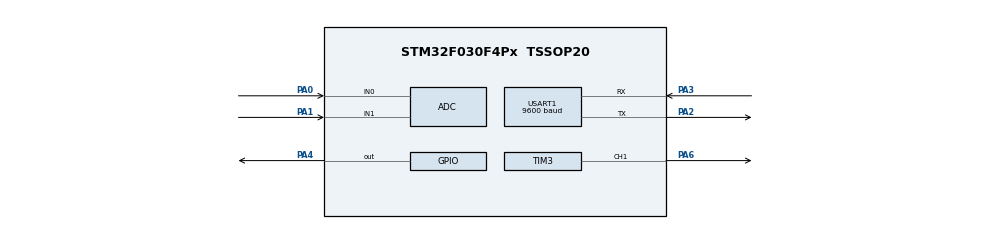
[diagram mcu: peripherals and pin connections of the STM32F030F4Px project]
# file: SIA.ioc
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ADC.DMAContinuousRequests=ENABLE
Dma.ADC.0.Direction=DMA_PERIPH_TO_MEMORY
Dma.ADC.0.Instance=DMA1_Channel1
Dma.ADC.0.MemDataAlignment=DMA_MDATAALIGN_HALFWORD
Dma.ADC.0.MemInc=DMA_MINC_ENABLE
Dma.ADC.0.Mode=DMA_CIRCULAR
Dma.ADC.0.PeriphDataAlignment=DMA_PDATAALIGN_HALFWORD
Dma.ADC.0.PeriphInc=DMA_PINC_DISABLE
Dma.ADC.0.Priority=DMA_PRIORITY_LOW
Dma.Request0=ADC
Mcu.Family=STM32F0
Mcu.Name=STM32F030F4Px
Mcu.Package=TSSOP20
NVIC.ADC1_IRQn=true\:0\:0\:false\:false\:true\:true
NVIC.DMA1_Channel1_IRQn=true\:0\:0\:false\:false\:true\:false
PA0.Mode=IN0
PA0.Signal=ADC_IN0
PA1.Mode=IN1
PA1.Signal=ADC_IN1
PA13.Mode=Serial_Wire
PA13.Signal=SYS_SWDIO
PA14.Mode=Serial_Wire
PA14.Signal=SYS_SWCLK
PA2.Mode=Asynchronous
PA2.Signal=USART1_TX
PA3.Mode=Asynchronous
PA3.Signal=USART1_RX
PA4.Signal=GPIO_Output
PA6.Signal=S_TIM3_CH1
ProjectManager.HeapSize=0x200
ProjectManager.StackSize=0x400
ProjectManager.TargetToolchain=TrueSTUDIO
SH.S_TIM3_CH1.0=TIM3_CH1,PWM Generation1 CH1
TIM3.Channel-PWM\ Generation1\ CH1=TIM_CHANNEL_1
USART1.BaudRate=9600
USART1.VirtualMode-Asynchronous=VM_ASYNC
VP_TIM3_VS_ClockSourceINT.Mode=Internal
board=custom

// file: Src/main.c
/**
  ******************************************************************************
  * @file           : main.c
  * @brief          : Main program body
  ******************************************************************************
  ** This notice applies to any and all portions of this file
  * that are not between comment pairs USER CODE BEGIN and
  * USER CODE END. Other portions of this file, whether
  * inserted by the user or by software development tools
  * are owned by their respective copyright owners.
  *
  * COPYRIGHT(c) 2018 STMicroelectronics
  *
  * Redistribution and use in source and binary forms, with or without modification,
  * are permitted provided that the following conditions are met:
  *   1. Redistributions of source code must retain the above copyright notice,
  *      this list of conditions and the following disclaimer.
  *   2. Redistributions in binary form must reproduce the above copyright notice,
  *      this list of conditions and the following disclaimer in the documentation
  *      and/or other materials provided with the distribution.
  *   3. Neither the name of STMicroelectronics nor the names of its contributors
  *      may be used to endorse or promote products derived from this software
  *      without specific prior written permission.
  *
  * THIS SOFTWARE IS PROVIDED BY THE COPYRIGHT HOLDERS AND CONTRIBUTORS "AS IS"
  * AND ANY EXPRESS OR IMPLIED WARRANTIES, INCLUDING, BUT NOT LIMITED TO, THE
  * IMPLIED WARRANTIES OF MERCHANTABILITY AND FITNESS FOR A PARTICULAR PURPOSE ARE
  * DISCLAIMED. IN NO EVENT SHALL THE COPYRIGHT HOLDER OR CONTRIBUTORS BE LIABLE
  * FOR ANY DIRECT, INDIRECT, INCIDENTAL, SPECIAL, EXEMPLARY, OR CONSEQUENTIAL
  * DAMAGES (INCLUDING, BUT NOT LIMITED TO, PROCUREMENT OF SUBSTITUTE GOODS OR
  * SERVICES; LOSS OF USE, DATA, OR PROFITS; OR BUSINESS INTERRUPTION) HOWEVER
  * CAUSED AND ON ANY THEORY OF LIABILITY, WHETHER IN CONTRACT, STRICT LIABILITY,
  * OR TORT (INCLUDING NEGLIGENCE OR OTHERWISE) ARISING IN ANY WAY OUT OF THE USE
  * OF THIS SOFTWARE, EVEN IF ADVISED OF THE POSSIBILITY OF SUCH DAMAGE.
  *
  ******************************************************************************
  */
#include "main.h"
#include "stm32f0xx_hal.h"

ADC_HandleTypeDef hadc;
DMA_HandleTypeDef hdma_adc;

TIM_HandleTypeDef htim3;

UART_HandleTypeDef huart1;

/* USER CODE BEGIN PV */
/* Private variables ---------------------------------------------------------*/

/* USER CODE END PV */

void SystemClock_Config(void);
static void MX_GPIO_Init(void);
static void MX_DMA_Init(void);
static void MX_USART1_UART_Init(void);
static void MX_ADC_Init(void);
static void MX_TIM3_Init(void);

void HAL_TIM_MspPostInit(TIM_HandleTypeDef *htim);

void imprimirHum();
void aguar();
void lerAD();

/* USER CODE BEGIN PFP */
/* Private function prototypes -----------------------------------------------*/

/* USER CODE END PFP */

/* USER CODE BEGIN 0 */

uint16_t adc[2], buffer[2];
uint8_t vaso[2] = {25 , 100};

// função para mandar as leituras ao aplicativo
void imprimirHum(){

	char valor1[9] = {
			(adc[0]/100)%10 + 48, (adc[0]/10)%10 + 48,
			'.', (adc[0]%10) + 48, // primeira leitura
			'|', // caractere separador, para o app
			(adc[1]/100)%10 + 48, (adc[1]/10)%10 + 48,
			'.', (adc[1]%10) + 48 // segunda leitura
	};
	HAL_UART_Transmit(&huart1,(uint8_t *) valor1,9,100);
	HAL_Delay(710);
}

//função para ler os sensores
void lerAD()
{
	  HAL_ADC_Start_DMA(&hadc,(uint32_t *) buffer, 2);
	  HAL_ADC_Stop_DMA(&hadc);
}

// Função de retorno(interrupção) para quando o AD terminar a leitura
void HAL_ADC_ConvCpltCallback(ADC_HandleTypeDef* hadc)
{
	for (int i =0; i<2; i++)
	{
	  adc[i] = buffer[i];
	  adc[i] = 1000 - (1000*adc[i])/4095;
	}
}

//função para ler os sensores e checar se estão poucos humidos, caso sim , aguá-los
void aguar()
{
	lerAD();	 // Faz a leitura dos dois canais de AD, com DMA e interrupção
	imprimirHum(); // manda os valores lidos para o aplicativo
	for (int i = 0 ; i<2; i++)
	{

		if(adc[i]<100)
		{
			while(adc[i]<100)
			{
				htim3.Instance->CCR1 = vaso[i]; // direciona a bomba para o vaso 'seco'
				HAL_Delay(1000);
				HAL_GPIO_WritePin(GPIOA,GPIO_PIN_4,SET); // liga a bomba
				HAL_Delay(50);
				lerAD();	   // Faz a leitura dos dois canais de AD, com DMA e interrupção
				imprimirHum(); // manda os valores lidos para o aplicativo
			}
			HAL_GPIO_WritePin(GPIOA,GPIO_PIN_4,RESET); // desliga a bomba
		}

	}
}

/* USER CODE END 0 */

int main(void)
{

  /* MCU Configuration----------------------------------------------------------*/

  /* Reset of all peripherals, Initializes the Flash interface and the Systick. */
  HAL_Init();

  /* Configure the system clock */
  SystemClock_Config();

  /* Initialize all configured peripherals */
  MX_GPIO_Init();
  MX_DMA_Init();
  MX_USART1_UART_Init();
  MX_ADC_Init();
  MX_TIM3_Init();
  /* USER CODE BEGIN 2 */

  HAL_TIM_Base_Start(&htim3);

  HAL_TIM_PWM_Start(&htim3, TIM_CHANNEL_1);
  /* USER CODE END 2 */

  /* Infinite loop */
  /* USER CODE BEGIN WHILE */
  while (1)
  {
	  aguar();
	  /*
		htim3.Instance->CCR1 = 25;
		HAL_Delay(1000);
		htim3.Instance->CCR1 = 50;
		HAL_Delay(1000);
		htim3.Instance->CCR1 = 100;
		HAL_Delay(1000);
	  */

  /* USER CODE END WHILE */

  }

}

void SystemClock_Config(void)
{

  RCC_OscInitTypeDef RCC_OscInitStruct;
  RCC_ClkInitTypeDef RCC_ClkInitStruct;
  RCC_PeriphCLKInitTypeDef PeriphClkInit;

    /**Initializes the CPU, AHB and APB busses clocks
    */
  RCC_OscInitStruct.OscillatorType = RCC_OSCILLATORTYPE_HSI|RCC_OSCILLATORTYPE_HSI14;
  RCC_OscInitStruct.HSIState = RCC_HSI_ON;
  RCC_OscInitStruct.HSI14State = RCC_HSI14_ON;
  RCC_OscInitStruct.HSICalibrationValue = 16;
  RCC_OscInitStruct.HSI14CalibrationValue = 16;
  RCC_OscInitStruct.PLL.PLLState = RCC_PLL_NONE;
  if (HAL_RCC_OscConfig(&RCC_OscInitStruct) != HAL_OK)
  {
    _Error_Handler(__FILE__, __LINE__);
  }

    /**Initializes the CPU, AHB and APB busses clocks
    */
  RCC_ClkInitStruct.ClockType = RCC_CLOCKTYPE_HCLK|RCC_CLOCKTYPE_SYSCLK
                              |RCC_CLOCKTYPE_PCLK1;
  RCC_ClkInitStruct.SYSCLKSource = RCC_SYSCLKSOURCE_HSI;
  RCC_ClkInitStruct.AHBCLKDivider = RCC_SYSCLK_DIV1;
  RCC_ClkInitStruct.APB1CLKDivider = RCC_HCLK_DIV1;

  if (HAL_RCC_ClockConfig(&RCC_ClkInitStruct, FLASH_LATENCY_0) != HAL_OK)
  {
    _Error_Handler(__FILE__, __LINE__);
  }

  PeriphClkInit.PeriphClockSelection = RCC_PERIPHCLK_USART1;
  PeriphClkInit.Usart1ClockSelection = RCC_USART1CLKSOURCE_PCLK1;
  if (HAL_RCCEx_PeriphCLKConfig(&PeriphClkInit) != HAL_OK)
  {
    _Error_Handler(__FILE__, __LINE__);
  }

    /**Configure the Systick interrupt time
    */
  HAL_SYSTICK_Config(HAL_RCC_GetHCLKFreq()/1000);

    /**Configure the Systick
    */
  HAL_SYSTICK_CLKSourceConfig(SYSTICK_CLKSOURCE_HCLK);

  /* SysTick_IRQn interrupt configuration */
  HAL_NVIC_SetPriority(SysTick_IRQn, 0, 0);
}

/* ADC init function */
static void MX_ADC_Init(void)
{

  ADC_ChannelConfTypeDef sConfig;

    /**Configure the global features of the ADC (Clock, Resolution, Data Alignment and number of conversion)
    */
  hadc.Instance = ADC1;
  hadc.Init.ClockPrescaler = ADC_CLOCK_ASYNC_DIV1;
  hadc.Init.Resolution = ADC_RESOLUTION_12B;
  hadc.Init.DataAlign = ADC_DATAALIGN_RIGHT;
  hadc.Init.ScanConvMode = ADC_SCAN_DIRECTION_FORWARD;
  hadc.Init.EOCSelection = ADC_EOC_SINGLE_CONV;
  hadc.Init.LowPowerAutoWait = DISABLE;
  hadc.Init.LowPowerAutoPowerOff = DISABLE;
  hadc.Init.ContinuousConvMode = DISABLE;
  hadc.Init.DiscontinuousConvMode = DISABLE;
  hadc.Init.ExternalTrigConv = ADC_SOFTWARE_START;
  hadc.Init.ExternalTrigConvEdge = ADC_EXTERNALTRIGCONVEDGE_NONE;
  hadc.Init.DMAContinuousRequests = ENABLE;
  hadc.Init.Overrun = ADC_OVR_DATA_PRESERVED;
  if (HAL_ADC_Init(&hadc) != HAL_OK)
  {
    _Error_Handler(__FILE__, __LINE__);
  }

    /**Configure for the selected ADC regular channel to be converted.
    */
  sConfig.Channel = ADC_CHANNEL_0;
  sConfig.Rank = ADC_RANK_CHANNEL_NUMBER;
  sConfig.SamplingTime = ADC_SAMPLETIME_1CYCLE_5;
  if (HAL_ADC_ConfigChannel(&hadc, &sConfig) != HAL_OK)
  {
    _Error_Handler(__FILE__, __LINE__);
  }

    /**Configure for the selected ADC regular channel to be converted.
    */
  sConfig.Channel = ADC_CHANNEL_1;
  if (HAL_ADC_ConfigChannel(&hadc, &sConfig) != HAL_OK)
  {
    _Error_Handler(__FILE__, __LINE__);
  }

}

/* TIM3 init function */
static void MX_TIM3_Init(void)
{

  TIM_ClockConfigTypeDef sClockSourceConfig;
  TIM_MasterConfigTypeDef sMasterConfig;
  TIM_OC_InitTypeDef sConfigOC;

  htim3.Instance = TIM3;
  htim3.Init.Prescaler = 160;
  htim3.Init.CounterMode = TIM_COUNTERMODE_UP;
  htim3.Init.Period = 1000;
  htim3.Init.ClockDivision = TIM_CLOCKDIVISION_DIV1;
  htim3.Init.AutoReloadPreload = TIM_AUTORELOAD_PRELOAD_DISABLE;
  if (HAL_TIM_Base_Init(&htim3) != HAL_OK)
  {
    _Error_Handler(__FILE__, __LINE__);
  }

  sClockSourceConfig.ClockSource = TIM_CLOCKSOURCE_INTERNAL;
  if (HAL_TIM_ConfigClockSource(&htim3, &sClockSourceConfig) != HAL_OK)
  {
    _Error_Handler(__FILE__, __LINE__);
  }

  if (HAL_TIM_PWM_Init(&htim3) != HAL_OK)
  {
    _Error_Handler(__FILE__, __LINE__);
  }

  sMasterConfig.MasterOutputTrigger = TIM_TRGO_RESET;
  sMasterConfig.MasterSlaveMode = TIM_MASTERSLAVEMODE_DISABLE;
  if (HAL_TIMEx_MasterConfigSynchronization(&htim3, &sMasterConfig) != HAL_OK)
  {
    _Error_Handler(__FILE__, __LINE__);
  }

  sConfigOC.OCMode = TIM_OCMODE_PWM1;
  sConfigOC.Pulse = 0;
  sConfigOC.OCPolarity = TIM_OCPOLARITY_HIGH;
  sConfigOC.OCFastMode = TIM_OCFAST_DISABLE;
  if (HAL_TIM_PWM_ConfigChannel(&htim3, &sConfigOC, TIM_CHANNEL_1) != HAL_OK)
  {
    _Error_Handler(__FILE__, __LINE__);
  }

  HAL_TIM_MspPostInit(&htim3);

}

/* USART1 init function */
static void MX_USART1_UART_Init(void)
{

  huart1.Instance = USART1;
  huart1.Init.BaudRate = 9600;
  huart1.Init.WordLength = UART_WORDLENGTH_8B;
  huart1.Init.StopBits = UART_STOPBITS_1;
  huart1.Init.Parity = UART_PARITY_NONE;
  huart1.Init.Mode = UART_MODE_TX_RX;
  huart1.Init.HwFlowCtl = UART_HWCONTROL_NONE;
  huart1.Init.OverSampling = UART_OVERSAMPLING_16;
  huart1.Init.OneBitSampling = UART_ONE_BIT_SAMPLE_DISABLE;
  huart1.AdvancedInit.AdvFeatureInit = UART_ADVFEATURE_NO_INIT;
  if (HAL_UART_Init(&huart1) != HAL_OK)
  {
    _Error_Handler(__FILE__, __LINE__);
  }

}

static void MX_DMA_Init(void)
{
  /* DMA controller clock enable */
  __HAL_RCC_DMA1_CLK_ENABLE();

  /* DMA interrupt init */
  /* DMA1_Channel1_IRQn interrupt configuration */
  HAL_NVIC_SetPriority(DMA1_Channel1_IRQn, 0, 0);
  HAL_NVIC_EnableIRQ(DMA1_Channel1_IRQn);

}

/** Configure pins as
        * Analog
        * Input
        * Output
        * EVENT_OUT
        * EXTI
*/
static void MX_GPIO_Init(void)
{

  GPIO_InitTypeDef GPIO_InitStruct;

  /* GPIO Ports Clock Enable */
  __HAL_RCC_GPIOA_CLK_ENABLE();

  /*Configure GPIO pin Output Level */
  HAL_GPIO_WritePin(GPIOA, GPIO_PIN_4, GPIO_PIN_RESET);

  /*Configure GPIO pin : PA4 */
  GPIO_InitStruct.Pin = GPIO_PIN_4;
  GPIO_InitStruct.Mode = GPIO_MODE_OUTPUT_PP;
  GPIO_InitStruct.Pull = GPIO_NOPULL;
  GPIO_InitStruct.Speed = GPIO_SPEED_FREQ_LOW;
  HAL_GPIO_Init(GPIOA, &GPIO_InitStruct);

}

void _Error_Handler(char *file, int line)
{
  while(1)
  {
  }
}

/************************ (C) COPYRIGHT STMicroelectronics *****END OF FILE****/
